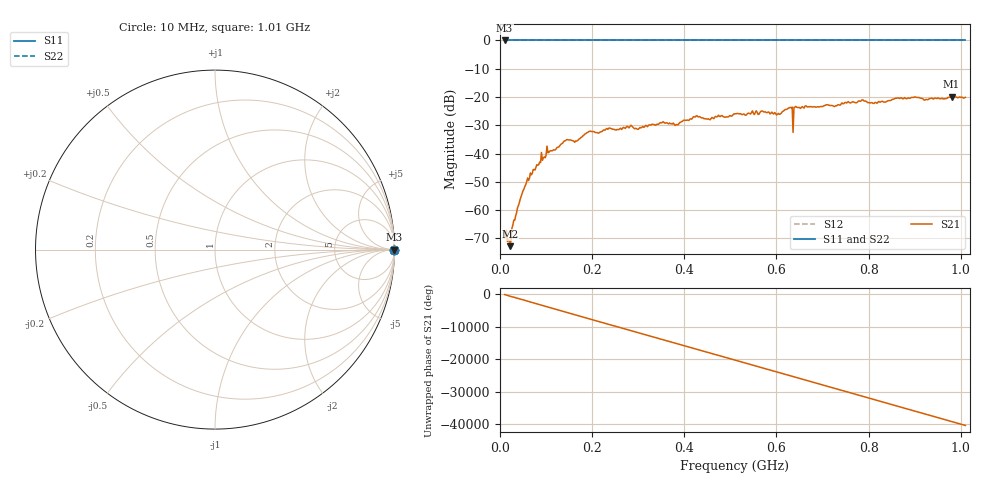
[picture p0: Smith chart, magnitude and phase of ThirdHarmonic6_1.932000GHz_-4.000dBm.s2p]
! 8/16/2025 11:16:52 PM
! C:\ANRITSUVNA\TEMP\TEMP.S2P
! CHANNEL.1
! TR.MEASUREMENT
! RAW.DATA
! RF.CORRECTION.OFF
! AVERAGING.OFF
! IF.BANDWIDTH: 5KHZ
! SWEEPTYPE:  FREQ.SWEEP(Linear)
! Reference Plane Port Info
! PORT:  PORT1  PORT2
! DISTANCE:  0  m  0  m
! TIME:  0  s  0  s
! PHASE.OFFSET:  0  deg.  0  deg.
! LOSS:  0  dB  0  dB
! REF.LOSS:  0  dB  0  dB
! REF.FREQ:  0  Hz  0  Hz
! Power Info
! POWER:  -20  dBm  -20  dBm
! EFF.POWER:  -20  dBm  -20  dBm
! SOURCE.ATTEN:  0  dB  0  dB
! TEST.ATTEN:  0  dB  0  dB
# GHZ S RI R 50.0
! FREQ.GHZ  S11RE  S11IM  S21RE  S21IM  S12RE  S12IM  S22RE  S22IM
!; PortSelection: Port_12
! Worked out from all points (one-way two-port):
!   501 points, 10 MHz to 1.01 GHz, reference 50 ohm
!   highest |S21| = -19.84 dB at 980 MHz (marker M1); lowest = -72.8 dB at 22 MHz (marker M2)
!   lowest |S11| = 0.0 dB at 10 MHz (marker M3)
!   |S11| at or under -10 dB: nowhere
!   |S22| runs from 0.0 to 0.0 dB; largest |S21 - S12| = 1.1
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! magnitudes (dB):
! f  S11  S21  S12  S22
! 10 MHz  0.0  -68.1  0.0  0.0
! 20 MHz  0.0  -70.7  0.0  0.0
! 22 MHz  0.0  -72.8  0.0  0.0
! 42 MHz  0.0  -57.4  0.0  0.0
! 56 MHz  0.0  -50.9  0.0  0.0
! 86 MHz  0.0  -43.0  0.0  0.0
! 106 MHz  0.0  -39.6  0.0  0.0
! 142 MHz  0.0  -35.5  0.0  0.0
! 178 MHz  0.0  -34.1  0.0  0.0
! 196 MHz  0.0  -32.1  0.0  0.0
! 344 MHz  0.0  -29.7  0.0  0.0
! 384 MHz  0.0  -29.7  0.0  0.0
! 510 MHz  0.0  -26.0  0.0  0.0
! 604 MHz  0.0  -25.8  0.0  0.0
! 630 MHz  0.0  -23.7  0.0  0.0
! 632 MHz  0.0  -23.8  0.0  0.0
! 640 MHz  0.0  -23.6  0.0  0.0
! 642 MHz  0.0  -23.3  0.0  0.0
! 678 MHz  0.0  -23.5  0.0  0.0
! 844 MHz  0.0  -21.3  0.0  0.0
! 980 MHz  0.0  -19.8  0.0  0.0
! 1.01 GHz  0.0  -20.1  0.0  0.0
